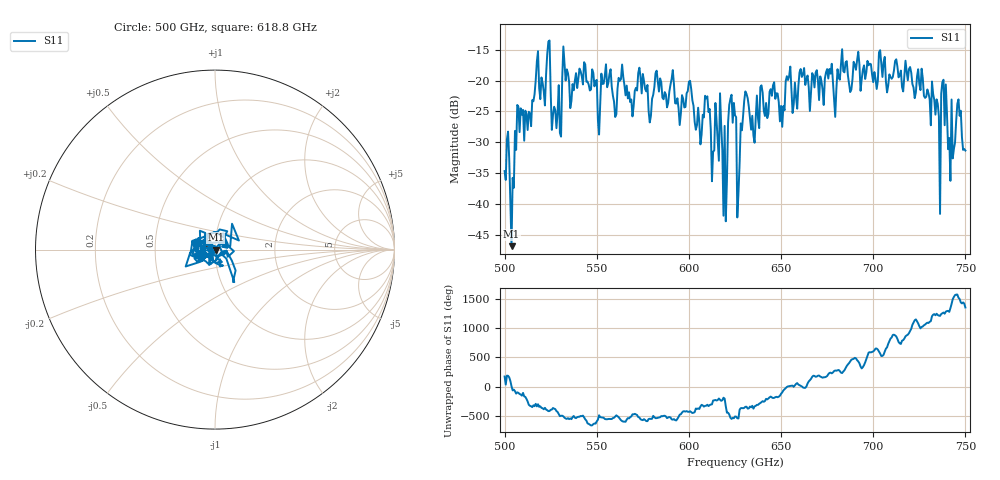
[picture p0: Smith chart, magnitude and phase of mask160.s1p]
!Created with skrf (http://scikit-rf.org).
# GHz S MA R 50.0
!freq magS11 angS11
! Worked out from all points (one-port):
!   401 points, 500 GHz to 750 GHz, reference 50 ohm
!   lowest |S11| = -46.7 dB at 503.8 GHz (marker M1), VSWR 1.01, Z = 50.5 + j0.0435 ohm
!   |S11| at or under -10 dB: start of sweep to end of sweep
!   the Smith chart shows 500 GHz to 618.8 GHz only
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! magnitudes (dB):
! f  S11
! 500 GHz  -34.6
! 503.8 GHz  -46.7
! 508.1 GHz  -28.3
! 513.1 GHz  -25.0
! 517.5 GHz  -16.9
! 523.8 GHz  -13.7
! 526.9 GHz  -24.2
! 531.2 GHz  -19.7
! 562.5 GHz  -20.1
! 593.8 GHz  -22.9
! 610 GHz  -22.6
! 612.5 GHz  -36.3
! 618.1 GHz  -31.2
! 619.4 GHz  -27.3
! 622.5 GHz  -23.0
! 625 GHz  -25.6
! 627.5 GHz  -33.4
! 631.2 GHz  -22.2
! 635 GHz  -28.9
! 656.2 GHz  -25.3
! 687.5 GHz  -21.9
! 718.8 GHz  -20.0
! 733.1 GHz  -23.1
! 735 GHz  -23.8
! 738.1 GHz  -19.9
! 741.9 GHz  -36.2
! 746.2 GHz  -23.0
! 750 GHz  -31.3
